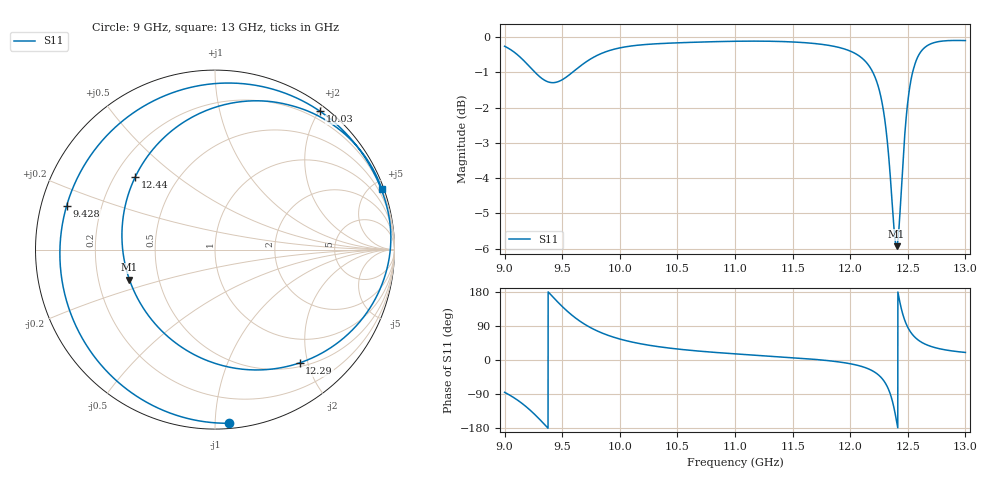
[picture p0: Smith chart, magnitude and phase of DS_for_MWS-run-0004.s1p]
! TOUCHSTONE file generated by CST DESIGN STUDIO
! Date and time: Tue Feb  4 18:45:08 2025
! Project name: C:\Work\MatlabApps\UnitCellOptimizationMatlab\CST\unitcell.cst
! Tree item: Tasks\Sweep1\SPara1\S-Parameters
! Header version: 2024
! Port assignment regex: !\s*Touchstone port\s*([0-9]+)\s*=\s*(CST MWS port|CST DES external port|CST DES block port)\s*(.+)\s* \(\"(.*)\"\)(\s*mode\s*([0-9]+))?.*
! Touchstone port assignment:
! Touchstone port 1 = CST DES external port 1 ("")
# GHz S MA R 50
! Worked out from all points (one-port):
!   4001 points, 9 GHz to 13 GHz, reference 50 ohm
!   lowest |S11| = -5.9 dB at 12.4 GHz (marker M1), VSWR 3.04, Z = 16.9 - j7.62 ohm
!   |S11| at or under -10 dB: nowhere
!   S11 on the Smith chart (normalised r, x): 9 GHz: 0.03, -1.08; 9.428 GHz: 0.08, +0.14; 10.03 GHz: 0.08, +2.01; 12.29 GHz: 0.56, -1.86; 12.44 GHz: 0.28, +0.36; 13 GHz: 0.19, +5.68
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9  0.9706 -85.3
9.109  0.9448 -105.2
9.203  0.9131 -127.4
9.323  0.8739 -162.5
9.428  0.8619 163.5
9.5  0.8701 141.2
9.592  0.8922 116.4
9.692  0.9187 94.9
9.84  0.948 71.9
10  0.9654 55.3
10.032  0.9677 52.7
10.5  0.9816 29.0
11  0.9866 16.2
11.5  0.9843 6.2
12  0.9555 -9.8
12.184  0.8995 -27.0
12.288  0.7879 -53.2
12.352  0.6217 -93.5
12.377  0.5437 -122.1
12.402  0.5053 -160.6
12.422  0.5321 166.4
12.442  0.6008 137.7
12.47  0.7134 107.9
12.5  0.8099 86.1
12.568  0.9218 58.3
12.654  0.9687 41.4
12.785  0.9865 29.1
13  0.9888 19.9
